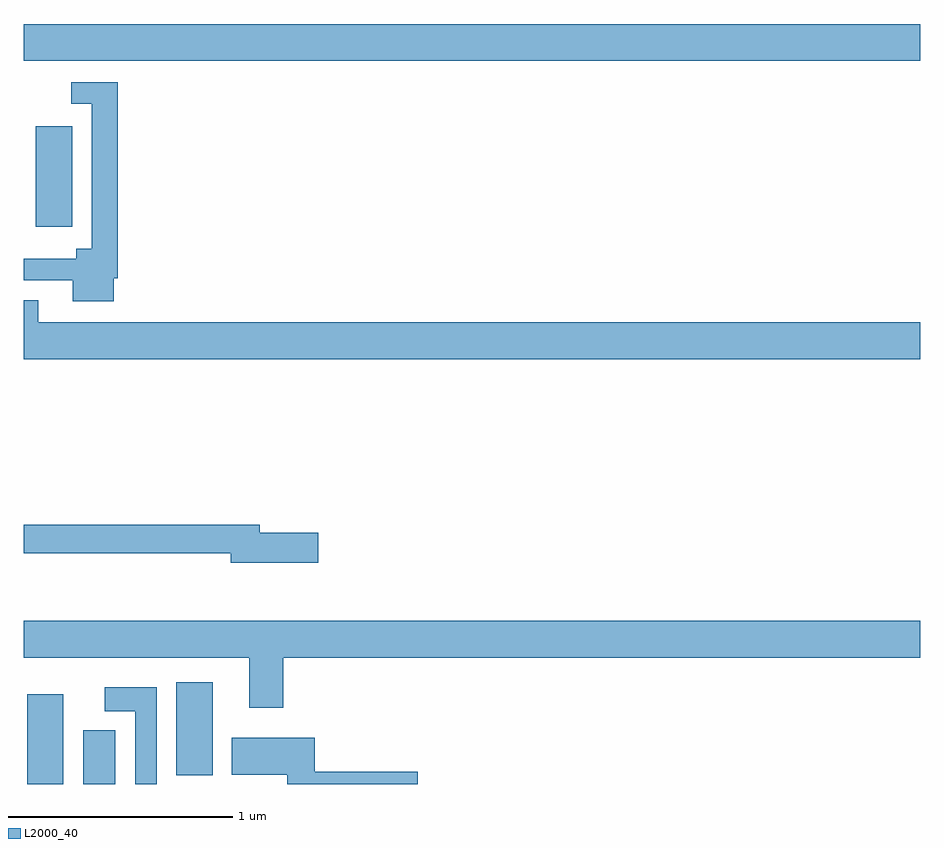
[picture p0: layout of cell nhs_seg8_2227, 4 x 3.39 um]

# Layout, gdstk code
import gdstk
lib = gdstk.Library(unit=1e-6, precision=1e-09)
def R(c, l, rs):  # rectangles x0, y0, x1, y1
    for r in rs: c.add(gdstk.rectangle(r[:2], r[2:], *l))
def P(c, l, *ps):  # polygons
    for p in ps: c.add(gdstk.Polygon(p, *l))
L2000_40 = (2000, 40)

nhs_seg8_2227 = lib.new_cell('nhs_seg8_2227')
R(nhs_seg8_2227, L2000_40, [(251.015,1151.9,251.176,1152.301), (251.264,1151.9,251.407,1152.139), (251.681,1151.939,251.842,1152.355), (251.054,1154.388,251.215,1154.836), (251,1155.128,255,1155.292)])
P(nhs_seg8_2227, L2000_40, [(251.401,1154.158),(251.42,1154.158),(251.42,1155.033),(251.211,1155.033),(251.211,1154.937),(251.304,1154.937),(251.304,1154.29),(251.234,1154.29),(251.234,1154.244),(251,1154.244),(251,1154.148),(251.219,1154.148),(251.219,1154.054),(251.401,1154.054)],
  [(255,1153.96),(251.065,1153.96),(251.065,1154.059),(251,1154.059),(251,1153.796),(255,1153.796)],
  [(252.313,1153.022),(252.052,1153.022),(252.052,1153.058),(251,1153.058),(251,1152.93),(251.924,1152.93),(251.924,1152.887),(252.313,1152.887)],
  [(252.158,1152.464),(255,1152.464),(255,1152.628),(251,1152.628),(251,1152.464),(252.005,1152.464),(252.005,1152.24),(252.158,1152.24)],
  [(251.592,1152.331),(251.361,1152.331),(251.361,1152.224),(251.496,1152.224),(251.496,1151.9),(251.592,1151.9)],
  [(252.757,1151.954),(252.299,1151.954),(252.299,1152.106),(251.927,1152.106),(251.927,1151.942),(252.176,1151.942),(252.176,1151.9),(252.757,1151.9)])

lib.write_gds('nhs_seg8_2227.gds')
